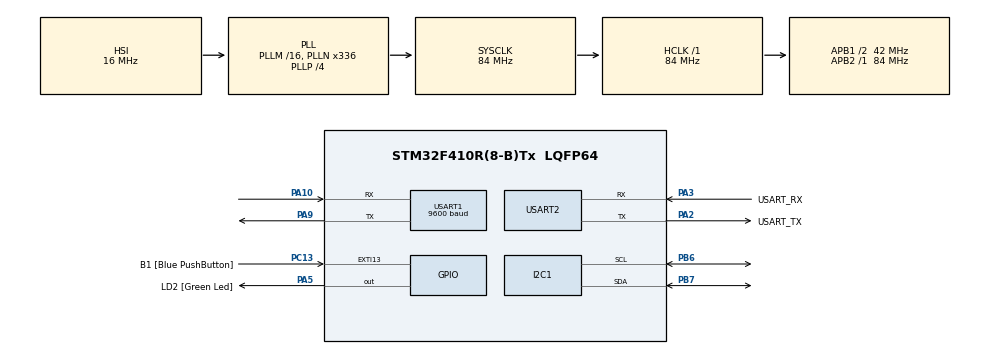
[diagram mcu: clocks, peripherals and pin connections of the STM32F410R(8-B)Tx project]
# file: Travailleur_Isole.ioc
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Mcu.Family=STM32F4
Mcu.Name=STM32F410R(8-B)Tx
Mcu.Package=LQFP64
NVIC.PriorityGroup=NVIC_PRIORITYGROUP_0
PA10.Mode=Asynchronous
PA10.Signal=USART1_RX
PA13.GPIO_Label=TMS
PA13.Mode=Serial_Wire
PA13.Signal=SYS_JTMS-SWDIO
PA14.GPIO_Label=TCK
PA14.Mode=Serial_Wire
PA14.Signal=SYS_JTCK-SWCLK
PA2.GPIO_Label=USART_TX
PA2.Mode=Asynchronous
PA2.Signal=USART2_TX
PA3.GPIO_Label=USART_RX
PA3.Mode=Asynchronous
PA3.Signal=USART2_RX
PA5.GPIO_Label=LD2 [Green Led]
PA5.Signal=GPIO_Output
PA9.Mode=Asynchronous
PA9.Signal=USART1_TX
PB3.GPIO_Label=SWO
PB3.Signal=SYS_JTDO-SWO
PB6.Mode=I2C
PB6.Signal=I2C1_SCL
PB7.Mode=I2C
PB7.Signal=I2C1_SDA
PC13-ANTI_TAMP.GPIO_Label=B1 [Blue PushButton]
PC13-ANTI_TAMP.GPIO_ModeDefaultEXTI=GPIO_MODE_IT_FALLING
PC13-ANTI_TAMP.Signal=GPXTI13
PC14-OSC32_IN.Mode=LSE-External-Oscillator
PC14-OSC32_IN.Signal=RCC_OSC32_IN
PC15-OSC32_OUT.Mode=LSE-External-Oscillator
PC15-OSC32_OUT.Signal=RCC_OSC32_OUT
PH0\ -\ OSC_IN.Mode=HSE-External-Oscillator
PH0\ -\ OSC_IN.Signal=RCC_OSC_IN
PH1\ -\ OSC_OUT.Mode=HSE-External-Oscillator
PH1\ -\ OSC_OUT.Signal=RCC_OSC_OUT
ProjectManager.HeapSize=0x200
ProjectManager.StackSize=0x400
ProjectManager.TargetToolchain=STM32CubeIDE
RCC.48MHZClocksFreq_Value=84000000
RCC.AHBFreq_Value=84000000
RCC.APB1CLKDivider=RCC_HCLK_DIV2
RCC.APB1Freq_Value=42000000
RCC.APB1TimFreq_Value=84000000
RCC.APB2Freq_Value=84000000
RCC.APB2TimFreq_Value=84000000
RCC.CortexFreq_Value=84000000
RCC.FLatency-AdvancedSettings=FLASH_LATENCY_2
RCC.HCLKFreq_Value=84000000
RCC.HSE_VALUE=8000000
RCC.HSI_VALUE=16000000
RCC.PLLN=336
RCC.PLLP=RCC_PLLP_DIV4
RCC.SYSCLKFreq_VALUE=84000000
RCC.SYSCLKSource=RCC_SYSCLKSOURCE_PLLCLK
RCC.VCOOutputFreq_Value=336000000
USART1.BaudRate=9600
USART1.VirtualMode=VM_ASYNC
USART2.VirtualMode=VM_ASYNC
board=NUCLEO-F410RB

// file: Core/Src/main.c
/* USER CODE BEGIN Header */
/**
  ******************************************************************************
  * @file           : main.c
  * @brief          : Main program body
  ******************************************************************************
  * @attention
  *
  * Copyright (c) 2022 STMicroelectronics.
  * All rights reserved.
  *
  * This software is licensed under terms that can be found in the LICENSE file
  * in the root directory of this software component.
  * If no LICENSE file comes with this software, it is provided AS-IS.
  *
  ******************************************************************************
  */
/* USER CODE END Header */
#include "main.h"

 I2C_HandleTypeDef hi2c1;

UART_HandleTypeDef huart1;
UART_HandleTypeDef huart2;

void SystemClock_Config(void);
static void MX_GPIO_Init(void);
static void MX_USART2_UART_Init(void);
static void MX_I2C1_Init(void);
static void MX_USART1_UART_Init(void);

/* USER CODE BEGIN 0 */

//Definition des registres dont on a besoin

#define MPU6050_ADDR 0xD0
#define SMPLRT_DIV_REG 0x19 //Permet de définir le taux d'échantillonnage du gyroscope
#define GYRO_CONFIG_REG 0x1B //Parametre la portée max. du gyroscope. Ici, on a + ou - 250°/s
#define ACCEL_CONFIG_REG 0x1C  //Parametre la portée max. de l'accelerometre. Ici, on a + ou - 2g
#define ACCEL_XOUT_H_REG 0x3B //Debut du registre contenant les valeurs d'acceleration
#define GYRO_XOUT_H_REG 0x43 //Debut du registre contenant les valeurs de rotation
#define PWR_MGMT_1_REG 0x6B //Configure le mode d'alimentation, ici on ne veut pas de mode de veille ni de reset donc on le met à 0.
#define WHO_AM_I_REG 0x75 //Permet de voir si l'accelerometre est detecté. On doit avoir check = 104.
//C'est ce qui va activer les registres de l'accelerometre.

char uart_tx_buffer[32]; //Création du buffer qui portera nos valeurs d'acceleration et de rotation

int16_t Accel_X_RAW;
int16_t Accel_Y_RAW;
int16_t Accel_Z_RAW;

float Ax;
float Ay;
float Az;

int16_t Gyro_X_RAW;
int16_t Gyro_Y_RAW;
int16_t Gyro_Z_RAW;

float Gx;
float Gy;
float Gz;

void MPU6050_Init (void){
	uint8_t check, Data;

	HAL_I2C_Mem_Read(&hi2c1, MPU6050_ADDR, WHO_AM_I_REG, 1, &check, 1, 1000); //Test de la valeur comprise dans WHO_AM_I_REG, celle-ci est mise dans "check"

	if (check == 104){ //Est-ce que le capteur est detecté?
		Data = 0;
		HAL_I2C_Mem_Write(&hi2c1, MPU6050_ADDR, PWR_MGMT_1_REG, 1, &Data, 1, 1000); //Fonctionnement normal : pas de veille ni de reset

		Data = 0x07;
		HAL_I2C_Mem_Write(&hi2c1, MPU6050_ADDR, SMPLRT_DIV_REG, 1, &Data, 1, 1000); //Taux d'echantillonnage du gyroscope

		Data = 0x00;
		HAL_I2C_Mem_Write(&hi2c1, MPU6050_ADDR, GYRO_CONFIG_REG, 1, &Data, 1, 1000); //Paramètre le gyroscope + ou - 250°/s

		Data = 0x00;
		HAL_I2C_Mem_Write(&hi2c1, MPU6050_ADDR, ACCEL_CONFIG_REG, 1, &Data, 1, 1000); //Paramètre l'accelerometre + ou - 2g

	}
}

void MPU6050_Read_Accel (void){
	uint8_t Rec_Data[6];

	HAL_I2C_Mem_Read(&hi2c1, MPU6050_ADDR, ACCEL_XOUT_H_REG, 1, Rec_Data, 6, 1000); //Recupere les valeurs d'acceleration dans Rec_Data

	Accel_X_RAW = (int16_t)(Rec_Data[0] << 8 | Rec_Data [1]); //Concatenation de Rec_Data[0;1] pour faire ACCEL_X_RAW
	Accel_Y_RAW = (int16_t)(Rec_Data[2] << 8 | Rec_Data [3]); //Concatenation de Rec_Data[2;3] pour faire ACCEL_Y_RAW
	Accel_Z_RAW = (int16_t)(Rec_Data[4] << 8 | Rec_Data [5]); //Concatenation de Rec_Data[4;5] pour faire ACCEL_Z_RAW

	Ax = Accel_X_RAW/16384.0; //Conversion de X_RAW en valeur exploitable en g
	Ay = Accel_Y_RAW/16384.0; //Conversion de Y_RAW en valeur exploitable en g
	Az = Accel_Z_RAW/16384.0; //Conversion de Z_RAW en valeur exploitable en g

}

void MPU6050_Read_Gyro (void){
	uint8_t Rec_Data[6];

	HAL_I2C_Mem_Read(&hi2c1, MPU6050_ADDR, GYRO_XOUT_H_REG, 1, Rec_Data, 6, 1000); //Recupere les valeurs de rotation dans Rec_Data

	Gyro_X_RAW = (int16_t)(Rec_Data[0] << 8 | Rec_Data [1]); //Concatenation de Rec_Data[0;1] pour faire Gyro_X_RAW
	Gyro_Y_RAW = (int16_t)(Rec_Data[2] << 8 | Rec_Data [3]); //Concatenation de Rec_Data[2;3] pour faire Gyro_Y_RAW
	Gyro_Z_RAW = (int16_t)(Rec_Data[4] << 8 | Rec_Data [5]); //Concatenation de Rec_Data[4;5] pour faire Gyro_Z_RAW

	Gx = Gyro_X_RAW/131.0; //Conversion de X_RAW en valeur exploitable en °/s
	Gy = Gyro_Y_RAW/131.0; //Conversion de Y_RAW en valeur exploitable en °/s
	Gz = Gyro_Z_RAW/131.0; //Conversion de Z_RAW en valeur exploitable en °/s
}

/* USER CODE END 0 */

int main(void)
{

  /* MCU Configuration--------------------------------------------------------*/

  /* Reset of all peripherals, Initializes the Flash interface and the Systick. */
  HAL_Init(); //Initialisation des fonctions HAL

  //Initialisation de notre accelerometre

  /* Configure the system clock */
  SystemClock_Config();

  /* Initialize all configured peripherals */
  MX_GPIO_Init();
  MX_USART2_UART_Init();
  MX_I2C1_Init();
  MX_USART1_UART_Init();
  /* USER CODE BEGIN 2 */
  MPU6050_Init();           // !!! Ne pas oublier d'appeler l'init SEULEMENT après avoir initialisé l'I2C!!!
  HAL_Delay(5000);
  /* USER CODE END 2 */

  /* Infinite loop */
  while (1)
  {
	  MPU6050_Read_Accel(); //On recupere les accelerations
	  MPU6050_Read_Gyro(); //On recupere les rotations

	  sprintf(uart_tx_buffer,"Accel en x : %.2f \r\n", Ax);
	  HAL_UART_Transmit(&huart2, uart_tx_buffer, strlen(uart_tx_buffer), HAL_MAX_DELAY);
	  sprintf(uart_tx_buffer,"Accel en y : %.2f \r\n", Ay);
	  HAL_UART_Transmit(&huart2, uart_tx_buffer, strlen(uart_tx_buffer), HAL_MAX_DELAY);
	  sprintf(uart_tx_buffer,"Accel en z : %.2f \r\n", Az);
	  HAL_UART_Transmit(&huart2, uart_tx_buffer, strlen(uart_tx_buffer), HAL_MAX_DELAY); //Envoi de la trame d'acceleration

	  sprintf(uart_tx_buffer,"Rotation en x : %.4f \r\n", Gx);
	  HAL_UART_Transmit(&huart2, uart_tx_buffer, strlen(uart_tx_buffer), HAL_MAX_DELAY);
	  sprintf(uart_tx_buffer,"Rotation en y : %.4f \r\n", Gy);
	  HAL_UART_Transmit(&huart2, uart_tx_buffer, strlen(uart_tx_buffer), HAL_MAX_DELAY);
	  sprintf(uart_tx_buffer,"Rotation en z : %.4f \r\n", Gz);
	  HAL_UART_Transmit(&huart2, uart_tx_buffer, strlen(uart_tx_buffer), HAL_MAX_DELAY); //Envoi de la trame de rotation

	  HAL_Delay(1000); //Délai d'une seconde
  }
}

void SystemClock_Config(void)
{
  RCC_OscInitTypeDef RCC_OscInitStruct = {0};
  RCC_ClkInitTypeDef RCC_ClkInitStruct = {0};

  /** Configure the main internal regulator output voltage
  */
  __HAL_RCC_PWR_CLK_ENABLE();
  __HAL_PWR_VOLTAGESCALING_CONFIG(PWR_REGULATOR_VOLTAGE_SCALE1);

  /** Initializes the RCC Oscillators according to the specified parameters
  * in the RCC_OscInitTypeDef structure.
  */
  RCC_OscInitStruct.OscillatorType = RCC_OSCILLATORTYPE_HSI;
  RCC_OscInitStruct.HSIState = RCC_HSI_ON;
  RCC_OscInitStruct.HSICalibrationValue = RCC_HSICALIBRATION_DEFAULT;
  RCC_OscInitStruct.PLL.PLLState = RCC_PLL_ON;
  RCC_OscInitStruct.PLL.PLLSource = RCC_PLLSOURCE_HSI;
  RCC_OscInitStruct.PLL.PLLM = 16;
  RCC_OscInitStruct.PLL.PLLN = 336;
  RCC_OscInitStruct.PLL.PLLP = RCC_PLLP_DIV4;
  RCC_OscInitStruct.PLL.PLLQ = 4;
  RCC_OscInitStruct.PLL.PLLR = 2;
  if (HAL_RCC_OscConfig(&RCC_OscInitStruct) != HAL_OK)
  {
    Error_Handler();
  }

  /** Initializes the CPU, AHB and APB buses clocks
  */
  RCC_ClkInitStruct.ClockType = RCC_CLOCKTYPE_HCLK|RCC_CLOCKTYPE_SYSCLK
                              |RCC_CLOCKTYPE_PCLK1|RCC_CLOCKTYPE_PCLK2;
  RCC_ClkInitStruct.SYSCLKSource = RCC_SYSCLKSOURCE_PLLCLK;
  RCC_ClkInitStruct.AHBCLKDivider = RCC_SYSCLK_DIV1;
  RCC_ClkInitStruct.APB1CLKDivider = RCC_HCLK_DIV2;
  RCC_ClkInitStruct.APB2CLKDivider = RCC_HCLK_DIV1;

  if (HAL_RCC_ClockConfig(&RCC_ClkInitStruct, FLASH_LATENCY_2) != HAL_OK)
  {
    Error_Handler();
  }
}

static void MX_I2C1_Init(void)
{

  hi2c1.Instance = I2C1;
  hi2c1.Init.ClockSpeed = 100000;
  hi2c1.Init.DutyCycle = I2C_DUTYCYCLE_2;
  hi2c1.Init.OwnAddress1 = 0;
  hi2c1.Init.AddressingMode = I2C_ADDRESSINGMODE_7BIT;
  hi2c1.Init.DualAddressMode = I2C_DUALADDRESS_DISABLE;
  hi2c1.Init.OwnAddress2 = 0;
  hi2c1.Init.GeneralCallMode = I2C_GENERALCALL_DISABLE;
  hi2c1.Init.NoStretchMode = I2C_NOSTRETCH_DISABLE;
  if (HAL_I2C_Init(&hi2c1) != HAL_OK)
  {
    Error_Handler();
  }

}

static void MX_USART1_UART_Init(void)
{

  huart1.Instance = USART1;
  huart1.Init.BaudRate = 9600;
  huart1.Init.WordLength = UART_WORDLENGTH_8B;
  huart1.Init.StopBits = UART_STOPBITS_1;
  huart1.Init.Parity = UART_PARITY_NONE;
  huart1.Init.Mode = UART_MODE_TX_RX;
  huart1.Init.HwFlowCtl = UART_HWCONTROL_NONE;
  huart1.Init.OverSampling = UART_OVERSAMPLING_16;
  if (HAL_UART_Init(&huart1) != HAL_OK)
  {
    Error_Handler();
  }

}

static void MX_USART2_UART_Init(void)
{

  huart2.Instance = USART2;
  huart2.Init.BaudRate = 115200;
  huart2.Init.WordLength = UART_WORDLENGTH_8B;
  huart2.Init.StopBits = UART_STOPBITS_1;
  huart2.Init.Parity = UART_PARITY_NONE;
  huart2.Init.Mode = UART_MODE_TX_RX;
  huart2.Init.HwFlowCtl = UART_HWCONTROL_NONE;
  huart2.Init.OverSampling = UART_OVERSAMPLING_16;
  if (HAL_UART_Init(&huart2) != HAL_OK)
  {
    Error_Handler();
  }

}

static void MX_GPIO_Init(void)
{
  GPIO_InitTypeDef GPIO_InitStruct = {0};

  /* GPIO Ports Clock Enable */
  __HAL_RCC_GPIOC_CLK_ENABLE();
  __HAL_RCC_GPIOH_CLK_ENABLE();
  __HAL_RCC_GPIOA_CLK_ENABLE();
  __HAL_RCC_GPIOB_CLK_ENABLE();

  /*Configure GPIO pin Output Level */
  HAL_GPIO_WritePin(LD2_GPIO_Port, LD2_Pin, GPIO_PIN_RESET);

  /*Configure GPIO pin : B1_Pin */
  GPIO_InitStruct.Pin = B1_Pin;
  GPIO_InitStruct.Mode = GPIO_MODE_IT_FALLING;
  GPIO_InitStruct.Pull = GPIO_NOPULL;
  HAL_GPIO_Init(B1_GPIO_Port, &GPIO_InitStruct);

  /*Configure GPIO pin : LD2_Pin */
  GPIO_InitStruct.Pin = LD2_Pin;
  GPIO_InitStruct.Mode = GPIO_MODE_OUTPUT_PP;
  GPIO_InitStruct.Pull = GPIO_NOPULL;
  GPIO_InitStruct.Speed = GPIO_SPEED_FREQ_LOW;
  HAL_GPIO_Init(LD2_GPIO_Port, &GPIO_InitStruct);

}

void Error_Handler(void)
{
  __disable_irq();
  while (1)
  {
  }
}
